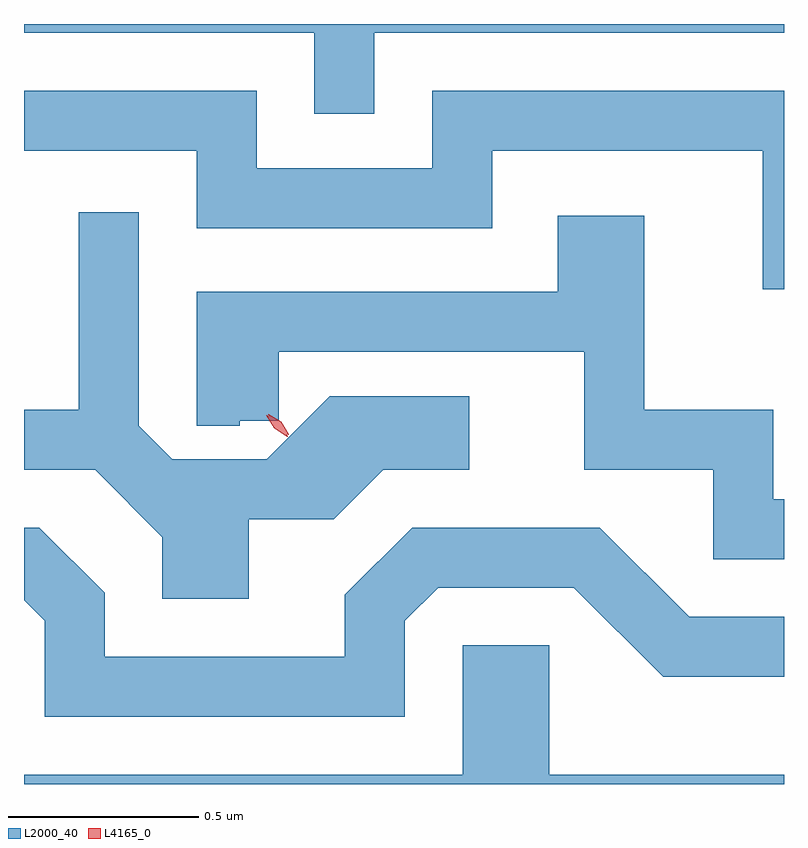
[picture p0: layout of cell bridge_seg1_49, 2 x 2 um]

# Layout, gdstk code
import gdstk
lib = gdstk.Library(unit=1e-6, precision=1e-09)
def P(c, l, *ps):  # polygons
    for p in ps: c.add(gdstk.Polygon(p, *l))
L2000_40 = (2000, 40)
L4165_0 = (4165, 0)

bridge_seg1_49 = lib.new_cell('bridge_seg1_49')
P(bridge_seg1_49, L2000_40, [(1811.809,904.016),(1812.887,904.016),(1812.887,904.039),(1810.887,904.039),(1810.887,904.016),(1811.651,904.016),(1811.651,903.803),(1811.809,903.803)],
  [(1812.887,903.864),(1811.961,903.864),(1811.961,903.659),(1811.499,903.659),(1811.499,903.864),(1810.887,903.864),(1810.887,903.706),(1811.341,903.706),(1811.341,903.501),(1812.119,903.501),(1812.119,903.706),(1812.831,903.706),(1812.831,903.341),(1812.887,903.341)],
  [(1811.479,902.736),(1811.702,902.736),(1811.832,902.866),(1812.059,902.866),(1812.059,903.06),(1811.692,903.06),(1811.526,902.894),(1811.277,902.894),(1811.189,902.982),(1811.189,903.543),(1811.031,903.543),(1811.031,903.024),(1810.887,903.024),(1810.887,902.866),(1811.074,902.866),(1811.251,902.689),(1811.251,902.526),(1811.479,902.526)],
  [(1812.887,902.789),(1812.859,902.789),(1812.859,903.024),(1812.519,903.024),(1812.519,903.534),(1812.291,903.534),(1812.291,903.334),(1811.341,903.334),(1811.341,903.085),(1811.342,903.085),(1811.342,902.982),(1811.455,902.982),(1811.455,902.995),(1811.558,902.995),(1811.558,903.176),(1812.361,903.176),(1812.361,902.866),(1812.701,902.866),(1812.701,902.631),(1812.887,902.631)],
  [(1811.889,902.469),(1811.977,902.556),(1812.334,902.556),(1812.569,902.321),(1812.887,902.321),(1812.887,902.479),(1812.637,902.479),(1812.402,902.714),(1811.909,902.714),(1811.731,902.537),(1811.731,902.374),(1811.099,902.374),(1811.099,902.542),(1810.927,902.714),(1810.887,902.714),(1810.887,902.523),(1810.941,902.469),(1810.941,902.216),(1811.889,902.216)],
  [(1812.887,902.064),(1812.269,902.064),(1812.269,902.404),(1812.041,902.404),(1812.041,902.064),(1810.887,902.064),(1810.887,902.039),(1812.887,902.039)])
P(bridge_seg1_49, L4165_0, [(1811.583,902.958),(1811.55,902.978),(1811.53,903.011),(1811.53,903.012),(1811.531,903.012),(1811.564,902.992),(1811.584,902.959),(1811.584,902.958)],
  [(1811.58,902.953),(1811.546,902.975),(1811.525,903.01),(1811.525,903.01),(1811.526,903.01),(1811.56,902.989),(1811.581,902.954),(1811.581,902.953)])

lib.write_gds('bridge_seg1_49.gds')
